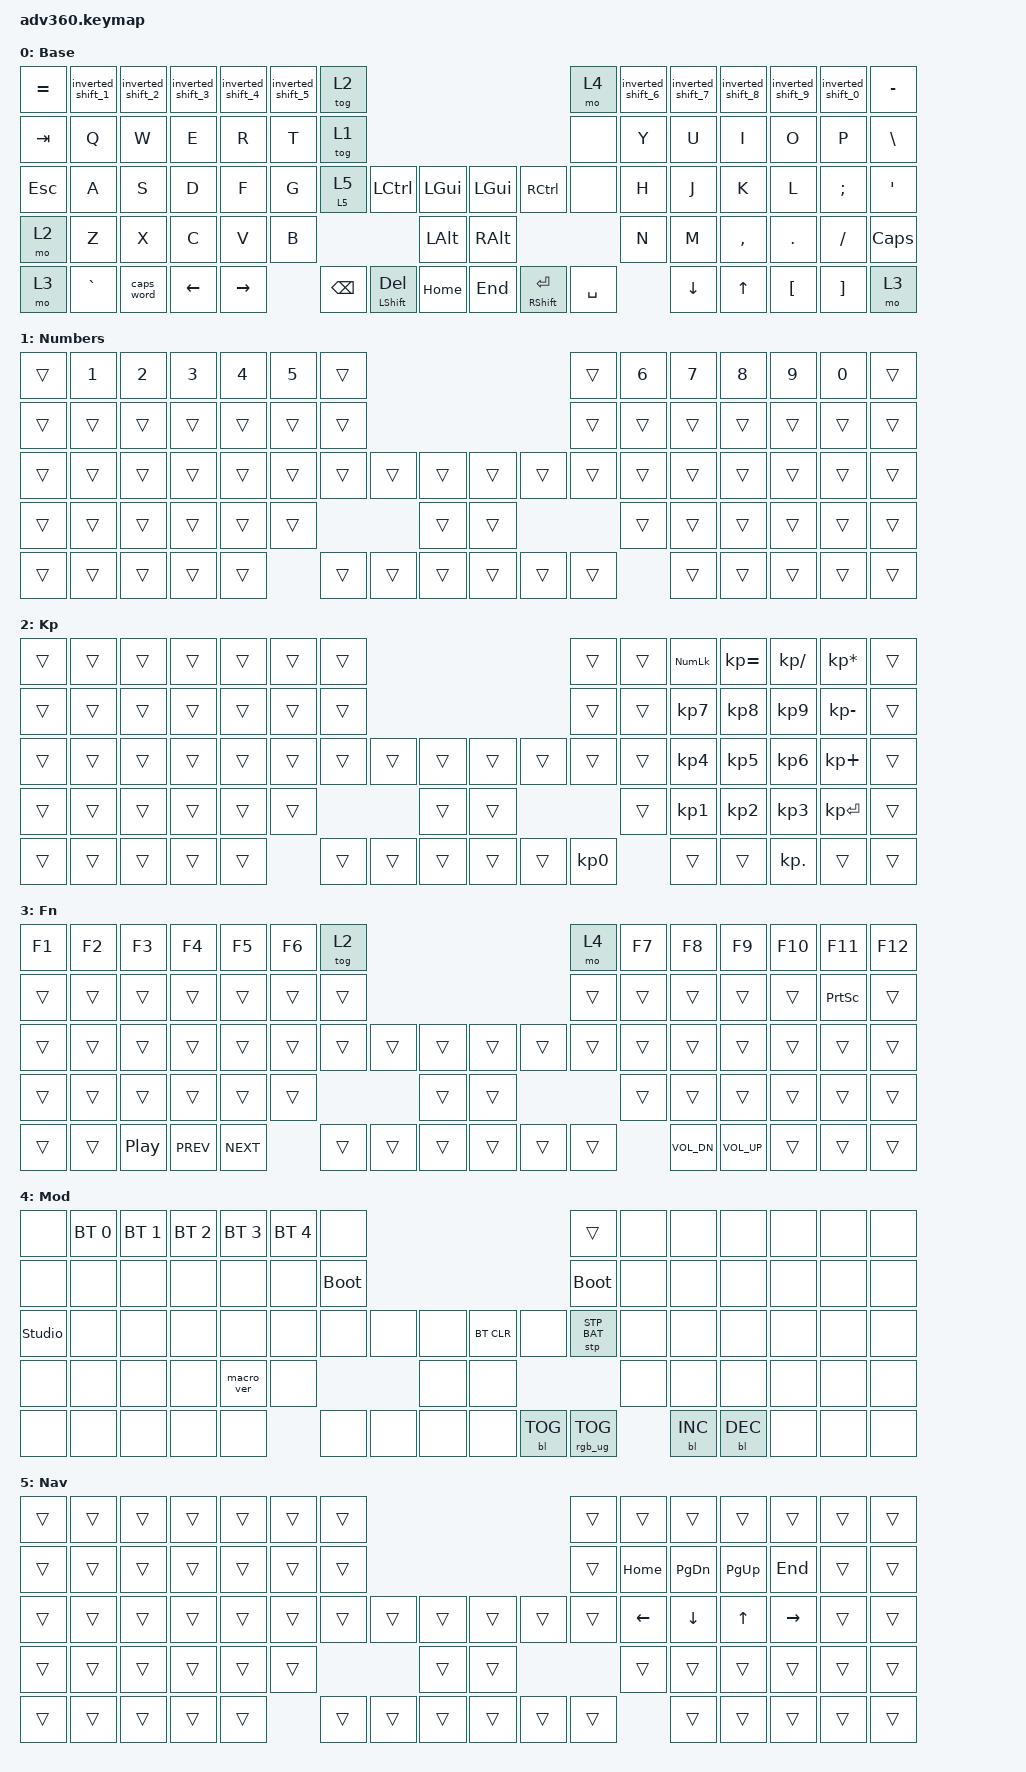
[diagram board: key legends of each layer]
#include <dt-bindings/zmk/stp.h>
#include <behaviors.dtsi>
#include <dt-bindings/zmk/backlight.h>
#include <dt-bindings/zmk/bt.h>
#include <dt-bindings/zmk/keys.h>
#include <dt-bindings/zmk/rgb.h>

/ {
    behaviors {
        #include "macros.dtsi"
        #include "version.dtsi"

        hm: homerow_mods {
            compatible = "zmk,behavior-hold-tap";
            label = "HOMEROW_MODS";
            #binding-cells = <2>;
            tapping-term-ms = <200>;
            quick_tap_ms = <175>;
            flavor = "tap-preferred";
            bindings = <&kp>, <&kp>;
        };

        inverted_shift_1: inverted_shift_1 {
            compatible = "zmk,behavior-mod-morph";
            label = "INVERTED_SHIFT_1";
            bindings = <&kp EXCL>, <&kp N1>;

            #binding-cells = <0>;
            mods = <(MOD_LSFT|MOD_RSFT)>;
        };

        inverted_shift_2: inverted_shift_2 {
            compatible = "zmk,behavior-mod-morph";
            label = "INVERTED_SHIFT_2";
            bindings = <&kp AT>, <&kp N2>;

            #binding-cells = <0>;
            mods = <(MOD_LSFT|MOD_RSFT)>;
        };

        inverted_shift_3: inverted_shift_3 {
            compatible = "zmk,behavior-mod-morph";
            label = "INVERTED_SHIFT_3";
            bindings = <&kp HASH>, <&kp N3>;

            #binding-cells = <0>;
            mods = <(MOD_LSFT|MOD_RSFT)>;
        };

        inverted_shift_4: inverted_shift_4 {
            compatible = "zmk,behavior-mod-morph";
            label = "INVERTED_SHIFT_4";
            bindings = <&kp DLLR>, <&kp N4>;

            #binding-cells = <0>;
            mods = <(MOD_LSFT|MOD_RSFT)>;
        };

        inverted_shift_5: inverted_shift_5 {
            compatible = "zmk,behavior-mod-morph";
            label = "INVERTED_SHIFT_5";
            bindings = <&kp PRCNT>, <&kp N5>;

            #binding-cells = <0>;
            mods = <(MOD_LSFT|MOD_RSFT)>;
        };

        inverted_shift_6: inverted_shift_6 {
            compatible = "zmk,behavior-mod-morph";
            label = "INVERTED_SHIFT_6";
            bindings = <&kp CARET>, <&kp N6>;

            #binding-cells = <0>;
            mods = <(MOD_LSFT|MOD_RSFT)>;
        };

        inverted_shift_7: inverted_shift_7 {
            compatible = "zmk,behavior-mod-morph";
            label = "INVERTED_SHIFT_7";
            bindings = <&kp AMPS>, <&kp N7>;

            #binding-cells = <0>;
            mods = <(MOD_LSFT|MOD_RSFT)>;
        };

        inverted_shift_8: inverted_shift_8 {
            compatible = "zmk,behavior-mod-morph";
            label = "INVERTED_SHIFT_8";
            bindings = <&kp STAR>, <&kp N8>;

            #binding-cells = <0>;
            mods = <(MOD_LSFT|MOD_RSFT)>;
        };

        inverted_shift_9: inverted_shift_9 {
            compatible = "zmk,behavior-mod-morph";
            label = "INVERTED_SHIFT_9";
            bindings = <&kp LPAR>, <&kp N9>;

            #binding-cells = <0>;
            mods = <(MOD_LSFT|MOD_RSFT)>;
        };

        inverted_shift_0: inverted_shift_0 {
            compatible = "zmk,behavior-mod-morph";
            label = "INVERTED_SHIFT_0";
            bindings = <&kp RPAR>, <&kp N0>;

            #binding-cells = <0>;
            mods = <(MOD_LSFT|MOD_RSFT)>;
        };

        mo_tog: mo_tog {
            compatible = "zmk,behavior-hold-tap";
            label = "Mo-Tog Layer";
            bindings = <&mo>, <&tog>;

            #binding-cells = <2>;
            tapping-term-ms = <200>;
        };
    };

    keymap {
        compatible = "zmk,keymap";

        default {
            display-name = "Base";
            bindings = <
//    ┌──────┬───────────────────┬───────────────────┬───────────────────┬───────────────────┬───────────────────┬────────────┐                                                 ┌──────┬───────────────────┬───────────────────┬───────────────────┬───────────────────┬───────────────────┬──────┐
//    │  =   │ &inverted_shift_1 │ &inverted_shift_2 │ &inverted_shift_3 │ &inverted_shift_4 │ &inverted_shift_5 │   tog 2    │                                                 │ mo 4 │ &inverted_shift_6 │ &inverted_shift_7 │ &inverted_shift_8 │ &inverted_shift_9 │ &inverted_shift_0 │  -   │
//    ├──────┼───────────────────┼───────────────────┼───────────────────┼───────────────────┼───────────────────┼────────────┤                                                 ├──────┼───────────────────┼───────────────────┼───────────────────┼───────────────────┼───────────────────┼──────┤
//    │ tab  │         Q         │         W         │         E         │         R         │         T         │   tog 1    │                                                 │      │         Y         │         U         │         I         │         O         │         P         │  \   │
//    ├──────┼───────────────────┼───────────────────┼───────────────────┼───────────────────┼───────────────────┼────────────┼─────────────┬──────┐       ┌──────┬─────────────┼──────┼───────────────────┼───────────────────┼───────────────────┼───────────────────┼───────────────────┼──────┤
//    │ esc  │         A         │         S         │         D         │         F         │         G         │ mo_tog 5 5 │    lctl     │ lgui │       │ lgui │    rctl     │      │         H         │         J         │         K         │         L         │         ;         │  '   │
//    ├──────┼───────────────────┼───────────────────┼───────────────────┼───────────────────┼───────────────────┼────────────┴─────────────┼──────┤       ├──────┼─────────────┴──────┼───────────────────┼───────────────────┼───────────────────┼───────────────────┼───────────────────┼──────┤
//    │ mo 2 │         Z         │         X         │         C         │         V         │         B         │                          │ lalt │       │ ralt │                    │         N         │         M         │         ,         │         .         │         /         │ caps │
//    ├──────┼───────────────────┼───────────────────┼───────────────────┼───────────────────┼───────────────────┼────────────┬─────────────┼──────┤       ├──────┼─────────────┬──────┼───────────────────┼───────────────────┼───────────────────┼───────────────────┼───────────────────┼──────┤
//    │ mo 3 │         `         │       capsw       │       left        │       rght        │                   │    bspc    │ mt lsft del │ home │       │ end  │ mt rsft ent │ spc  │                   │       down        │        up         │         [         │         ]         │ mo 3 │
//    └──────┴───────────────────┴───────────────────┴───────────────────┴───────────────────┘                   └────────────┴─────────────┴──────┘       └──────┴─────────────┴──────┘                   └───────────────────┴───────────────────┴───────────────────┴───────────────────┴──────┘
  &kp EQUAL   &inverted_shift_1   &inverted_shift_2   &inverted_shift_3   &inverted_shift_4   &inverted_shift_5   &tog 2                                                                          &mo 4       &inverted_shift_6   &inverted_shift_7   &inverted_shift_8   &inverted_shift_9   &inverted_shift_0   &kp MINUS
  &kp TAB     &kp Q               &kp W               &kp E               &kp R               &kp T               &tog 1                                                                          &none       &kp Y               &kp U               &kp I               &kp O               &kp P               &kp BSLH
  &kp ESC     &kp A               &kp S               &kp D               &kp F               &kp G               &mo_tog 5 5   &kp LCTRL        &kp LGUI           &kp LGUI   &kp RCTRL          &none       &kp H               &kp J               &kp K               &kp L               &kp SEMI            &kp SQT
  &mo 2       &kp Z               &kp X               &kp C               &kp V               &kp B                                              &kp LALT           &kp RALT                                  &kp N               &kp M               &kp COMMA           &kp DOT             &kp FSLH            &kp CAPS
  &mo 3       &kp GRAVE           &caps_word          &kp LEFT            &kp RIGHT                               &kp BSPC      &mt LSHIFT DEL   &kp HOME           &kp END    &mt RSHIFT ENTER   &kp SPACE                       &kp DOWN            &kp UP              &kp LBKT            &kp RBKT            &mo 3
            >;
        };

        numbers {
            display-name = "Numbers";
            bindings = <
//    ┌─────┬─────┬─────┬─────┬─────┬─────┬─────┐                               ┌─────┬─────┬─────┬─────┬─────┬─────┬─────┐
//    │     │  1  │  2  │  3  │  4  │  5  │     │                               │     │  6  │  7  │  8  │  9  │  0  │     │
//    ├─────┼─────┼─────┼─────┼─────┼─────┼─────┤                               ├─────┼─────┼─────┼─────┼─────┼─────┼─────┤
//    │     │     │     │     │     │     │     │                               │     │     │     │     │     │     │     │
//    ├─────┼─────┼─────┼─────┼─────┼─────┼─────┼─────┬─────┐       ┌─────┬─────┼─────┼─────┼─────┼─────┼─────┼─────┼─────┤
//    │     │     │     │     │     │     │     │     │     │       │     │     │     │     │     │     │     │     │     │
//    ├─────┼─────┼─────┼─────┼─────┼─────┼─────┴─────┼─────┤       ├─────┼─────┴─────┼─────┼─────┼─────┼─────┼─────┼─────┤
//    │     │     │     │     │     │     │           │     │       │     │           │     │     │     │     │     │     │
//    ├─────┼─────┼─────┼─────┼─────┼─────┼─────┬─────┼─────┤       ├─────┼─────┬─────┼─────┼─────┼─────┼─────┼─────┼─────┤
//    │     │     │     │     │     │     │     │     │     │       │     │     │     │     │     │     │     │     │     │
//    └─────┴─────┴─────┴─────┴─────┘     └─────┴─────┴─────┘       └─────┴─────┴─────┘     └─────┴─────┴─────┴─────┴─────┘
  &trans   &kp N1   &kp N2   &kp N3   &kp N4   &kp N5   &trans                                               &trans   &kp N6   &kp N7   &kp N8   &kp N9   &kp N0   &trans
  &trans   &trans   &trans   &trans   &trans   &trans   &trans                                               &trans   &trans   &trans   &trans   &trans   &trans   &trans
  &trans   &trans   &trans   &trans   &trans   &trans   &trans   &trans   &trans           &trans   &trans   &trans   &trans   &trans   &trans   &trans   &trans   &trans
  &trans   &trans   &trans   &trans   &trans   &trans                     &trans           &trans                     &trans   &trans   &trans   &trans   &trans   &trans
  &trans   &trans   &trans   &trans   &trans            &trans   &trans   &trans           &trans   &trans   &trans            &trans   &trans   &trans   &trans   &trans
            >;
        };

        keypad {
            display-name = "Kp";
            bindings = <
//    ┌─────┬─────┬─────┬─────┬─────┬─────┬─────┐                               ┌─────┬─────┬──────┬──────┬──────┬──────┬─────┐
//    │     │     │     │     │     │     │     │                               │     │     │ nlck │ kp_= │ kp_/ │ kp_* │     │
//    ├─────┼─────┼─────┼─────┼─────┼─────┼─────┤                               ├─────┼─────┼──────┼──────┼──────┼──────┼─────┤
//    │     │     │     │     │     │     │     │                               │     │     │  7   │  8   │  9   │ kp_- │     │
//    ├─────┼─────┼─────┼─────┼─────┼─────┼─────┼─────┬─────┐       ┌─────┬─────┼─────┼─────┼──────┼──────┼──────┼──────┼─────┤
//    │     │     │     │     │     │     │     │     │     │       │     │     │     │     │  4   │  5   │  6   │ kp_+ │     │
//    ├─────┼─────┼─────┼─────┼─────┼─────┼─────┴─────┼─────┤       ├─────┼─────┴─────┼─────┼──────┼──────┼──────┼──────┼─────┤
//    │     │     │     │     │     │     │           │     │       │     │           │     │  1   │  2   │  3   │ ent  │     │
//    ├─────┼─────┼─────┼─────┼─────┼─────┼─────┬─────┼─────┤       ├─────┼─────┬─────┼─────┼──────┼──────┼──────┼──────┼─────┤
//    │     │     │     │     │     │     │     │     │     │       │     │     │  0  │     │      │      │ kp_. │      │     │
//    └─────┴─────┴─────┴─────┴─────┘     └─────┴─────┴─────┘       └─────┴─────┴─────┘     └──────┴──────┴──────┴──────┴─────┘
  &trans   &trans   &trans   &trans   &trans   &trans   &trans                                               &trans      &trans   &kp KP_NUM   &kp KP_EQUAL   &kp KP_DIVIDE   &kp KP_MULTIPLY   &trans
  &trans   &trans   &trans   &trans   &trans   &trans   &trans                                               &trans      &trans   &kp KP_N7    &kp KP_N8      &kp KP_N9       &kp KP_MINUS      &trans
  &trans   &trans   &trans   &trans   &trans   &trans   &trans   &trans   &trans           &trans   &trans   &trans      &trans   &kp KP_N4    &kp KP_N5      &kp KP_N6       &kp KP_PLUS       &trans
  &trans   &trans   &trans   &trans   &trans   &trans                     &trans           &trans                        &trans   &kp KP_N1    &kp KP_N2      &kp KP_N3       &kp KP_ENTER      &trans
  &trans   &trans   &trans   &trans   &trans            &trans   &trans   &trans           &trans   &trans   &kp KP_N0            &trans       &trans         &kp KP_DOT      &trans            &trans
            >;
        };

        fn {
            display-name = "Fn";
            bindings = <
//    ┌─────┬─────┬──────┬──────┬──────┬─────┬───────┐                               ┌──────┬─────┬──────┬──────┬─────┬──────┬─────┐
//    │ f1  │ f2  │  f3  │  f4  │  f5  │ f6  │ tog 2 │                               │ mo 4 │ f7  │  f8  │  f9  │ f10 │ f11  │ f12 │
//    ├─────┼─────┼──────┼──────┼──────┼─────┼───────┤                               ├──────┼─────┼──────┼──────┼─────┼──────┼─────┤
//    │     │     │      │      │      │     │       │                               │      │     │      │      │     │ pscr │     │
//    ├─────┼─────┼──────┼──────┼──────┼─────┼───────┼─────┬─────┐       ┌─────┬─────┼──────┼─────┼──────┼──────┼─────┼──────┼─────┤
//    │     │     │      │      │      │     │       │     │     │       │     │     │      │     │      │      │     │      │     │
//    ├─────┼─────┼──────┼──────┼──────┼─────┼───────┴─────┼─────┤       ├─────┼─────┴──────┼─────┼──────┼──────┼─────┼──────┼─────┤
//    │     │     │      │      │      │     │             │     │       │     │            │     │      │      │     │      │     │
//    ├─────┼─────┼──────┼──────┼──────┼─────┼───────┬─────┼─────┤       ├─────┼─────┬──────┼─────┼──────┼──────┼─────┼──────┼─────┤
//    │     │     │ play │ prev │ next │     │       │     │     │       │     │     │      │     │ vold │ volu │     │      │     │
//    └─────┴─────┴──────┴──────┴──────┘     └───────┴─────┴─────┘       └─────┴─────┴──────┘     └──────┴──────┴─────┴──────┴─────┘
  &kp F1   &kp F2   &kp F3     &kp F4       &kp F5       &kp F6   &tog 2                                               &mo 4    &kp F7   &kp F8         &kp F9         &kp F10   &kp F11           &kp F12
  &trans   &trans   &trans     &trans       &trans       &trans   &trans                                               &trans   &trans   &trans         &trans         &trans    &kp PRINTSCREEN   &trans
  &trans   &trans   &trans     &trans       &trans       &trans   &trans   &trans   &trans           &trans   &trans   &trans   &trans   &trans         &trans         &trans    &trans            &trans
  &trans   &trans   &trans     &trans       &trans       &trans                     &trans           &trans                     &trans   &trans         &trans         &trans    &trans            &trans
  &trans   &trans   &kp C_PP   &kp C_PREV   &kp C_NEXT            &trans   &trans   &trans           &trans   &trans   &trans            &kp C_VOL_DN   &kp C_VOL_UP   &trans    &trans            &trans
            >;
        };

        mod {
            display-name = "Mod";
            bindings = <
//    ┌────────────────┬──────────┬──────────┬──────────┬────────────┬──────────┬──────┐                                      ┌─────────────┬─────┬─────────┬─────────┬─────┬─────┬─────┐
//    │                │ bt_sel 0 │ bt_sel 1 │ bt_sel 2 │  bt_sel 3  │ bt_sel 4 │      │                                      │             │     │         │         │     │     │     │
//    ├────────────────┼──────────┼──────────┼──────────┼────────────┼──────────┼──────┤                                      ├─────────────┼─────┼─────────┼─────────┼─────┼─────┼─────┤
//    │                │          │          │          │            │          │ boot │                                      │    boot     │     │         │         │     │     │     │
//    ├────────────────┼──────────┼──────────┼──────────┼────────────┼──────────┼──────┼─────┬─────┐       ┌────────┬─────────┼─────────────┼─────┼─────────┼─────────┼─────┼─────┼─────┤
//    │ &studio_unlock │          │          │          │            │          │      │     │     │       │ bt_clr │         │ &stp STP_B@ │     │         │         │     │     │     │
//    ├────────────────┼──────────┼──────────┼──────────┼────────────┼──────────┼──────┴─────┼─────┤       ├────────┼─────────┴─────────────┼─────┼─────────┼─────────┼─────┼─────┼─────┤
//    │                │          │          │          │ &macro_ver │          │            │     │       │        │                       │     │         │         │     │     │     │
//    ├────────────────┼──────────┼──────────┼──────────┼────────────┼──────────┼──────┬─────┼─────┤       ├────────┼─────────┬─────────────┼─────┼─────────┼─────────┼─────┼─────┼─────┤
//    │                │          │          │          │            │          │      │     │     │       │        │ bl_ tog │   ug_ tog   │     │ bl_ br+ │ bl_ br- │     │     │     │
//    └────────────────┴──────────┴──────────┴──────────┴────────────┘          └──────┴─────┴─────┘       └────────┴─────────┴─────────────┘     └─────────┴─────────┴─────┴─────┴─────┘
  &none            &bt BT_SEL 0   &bt BT_SEL 1   &bt BT_SEL 2   &bt BT_SEL 3   &bt BT_SEL 4   &none                                                           &trans            &none   &none        &none        &none   &none   &none
  &none            &none          &none          &none          &none          &none          &bootloader                                                     &bootloader       &none   &none        &none        &none   &none   &none
  &studio_unlock   &none          &none          &none          &none          &none          &none         &none   &none           &bt BT_CLR   &none        &stp STP_BAT      &none   &none        &none        &none   &none   &none
  &none            &none          &none          &none          &macro_ver     &none                                &none           &none                                       &none   &none        &none        &none   &none   &none
  &none            &none          &none          &none          &none                         &none         &none   &none           &none        &bl BL_TOG   &rgb_ug RGB_TOG           &bl BL_INC   &bl BL_DEC   &none   &none   &none
            >;
        };

        Nav {
            bindings = <
//    ┌─────┬─────┬─────┬─────┬─────┬─────┬─────┐                               ┌─────┬──────┬──────┬──────┬──────┬─────┬─────┐
//    │     │     │     │     │     │     │     │                               │     │      │      │      │      │     │     │
//    ├─────┼─────┼─────┼─────┼─────┼─────┼─────┤                               ├─────┼──────┼──────┼──────┼──────┼─────┼─────┤
//    │     │     │     │     │     │     │     │                               │     │ home │ pgdn │ pgup │ end  │     │     │
//    ├─────┼─────┼─────┼─────┼─────┼─────┼─────┼─────┬─────┐       ┌─────┬─────┼─────┼──────┼──────┼──────┼──────┼─────┼─────┤
//    │     │     │     │     │     │     │     │     │     │       │     │     │     │ left │ down │  up  │ rght │     │     │
//    ├─────┼─────┼─────┼─────┼─────┼─────┼─────┴─────┼─────┤       ├─────┼─────┴─────┼──────┼──────┼──────┼──────┼─────┼─────┤
//    │     │     │     │     │     │     │           │     │       │     │           │      │      │      │      │     │     │
//    ├─────┼─────┼─────┼─────┼─────┼─────┼─────┬─────┼─────┤       ├─────┼─────┬─────┼──────┼──────┼──────┼──────┼─────┼─────┤
//    │     │     │     │     │     │     │     │     │     │       │     │     │     │      │      │      │      │     │     │
//    └─────┴─────┴─────┴─────┴─────┘     └─────┴─────┴─────┘       └─────┴─────┴─────┘      └──────┴──────┴──────┴─────┴─────┘
  &trans   &trans   &trans   &trans   &trans   &trans   &trans                                               &trans   &trans     &trans          &trans        &trans      &trans   &trans
  &trans   &trans   &trans   &trans   &trans   &trans   &trans                                               &trans   &kp HOME   &kp PAGE_DOWN   &kp PAGE_UP   &kp END     &trans   &trans
  &trans   &trans   &trans   &trans   &trans   &trans   &trans   &trans   &trans           &trans   &trans   &trans   &kp LEFT   &kp DOWN        &kp UP        &kp RIGHT   &trans   &trans
  &trans   &trans   &trans   &trans   &trans   &trans                     &trans           &trans                     &trans     &trans          &trans        &trans      &trans   &trans
  &trans   &trans   &trans   &trans   &trans            &trans   &trans   &trans           &trans   &trans   &trans              &trans          &trans        &trans      &trans   &trans
            >;
        };
    };
};
